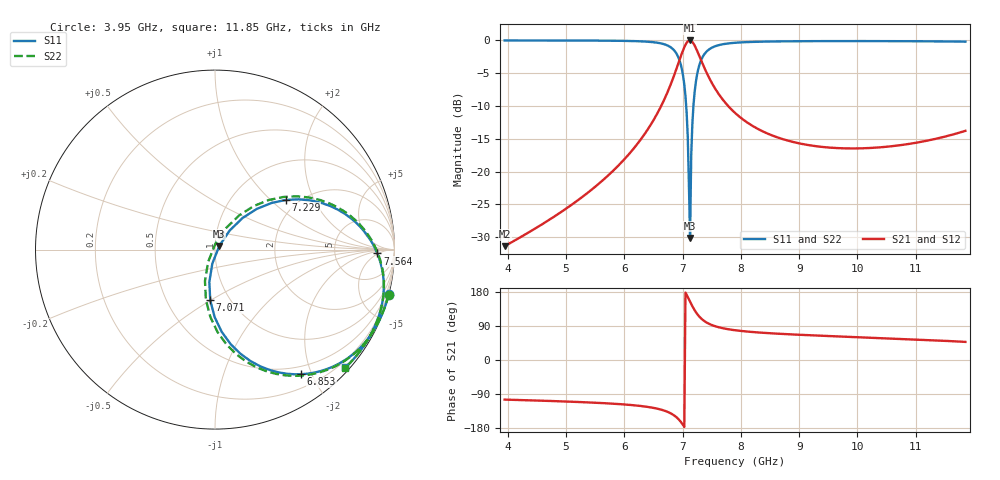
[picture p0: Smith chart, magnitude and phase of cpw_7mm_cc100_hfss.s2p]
! Touchstone file exported from HFSS 2025.2.0
!  File:  D:/lfl/Documents/Ansoft/06082026_005pf.aedt
!  Generated:  05:45:41 PM Jul 18, 2026
!  Design:  cpw_7mm1
!  Project:  06082026_005pf
!  Setup:  Setup1
!  Solution:  Sweep
# GHz S MA R 50.000000
! Terminal data exported
! Port[1] = 1
! Port[2] = 2
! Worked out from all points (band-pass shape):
!   401 points, 3.95 GHz to 11.85 GHz, reference 50 ohm
!   highest |S21| = 0.00 dB at 7.13 GHz (marker M1); lowest = -31.4 dB at 3.95 GHz (marker M2)
!   |S21| within 3 dB of the highest: 6.948 GHz to 7.318 GHz (370.5 MHz wide, 5.19 % of centre)
!   lowest |S11| = -30.1 dB at 7.13 GHz (marker M3), VSWR 1.06, Z = 52.4 + j2.12 ohm
!   |S11| at or under -10 dB: 7.063 GHz to 7.187 GHz (124.4 MHz wide, 1.75 % of centre)
!   |S22| runs from -30.1 to 0.0 dB; largest |S21 - S12| = 3.4e-11
!   S11 on the Smith chart (normalised r, x): 3.95 GHz: 0.01, -7.90; 6.853 GHz: 0.38, -1.84; 7.071 GHz: 0.81, -0.50; 7.229 GHz: 1.73, +1.24; 7.564 GHz: 19, -4; 11.85 GHz: 0.08, -2.60
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3.95  0.9996 -14.4  0.02704 -104.5  0.02704 -104.5  0.9996 -14.5
! Gamma 0 0 0 0
! Port Impedance 50 0 50 0
5.27325  0.998 -21.1  0.06372 -111.2  0.06372 -111.2  0.998 -21.3
6.06325  0.9911 -27.9  0.133 -118.1  0.133 -118.1  0.9911 -28.2
6.5965  0.956 -39.2  0.2934 -129.5  0.2934 -129.5  0.956 -39.8
6.85325  0.8436 -55.4  0.537 -145.9  0.537 -145.9  0.8436 -56.4
6.93225  0.7374 -65.5  0.6755 -156.2  0.6755 -156.2  0.7374 -67.0
6.9915  0.5969 -76.3  0.8023 -167.3  0.8023 -167.3  0.5969 -78.4
7.031  0.4598 -85.3  0.888 -176.8  0.888 -176.8  0.4598 -88.2
7.0705  0.284 -95.3  0.9588 172.2  0.9588 172.2  0.284 -100.3
7.09025  0.1838 -99.9  0.983 166.2  0.983 166.2  0.1838 -107.7
7.12975  0.03129 40.3  0.9995 153.8  0.9995 153.8  0.0313 87.4
7.1495  0.1341 52.5  0.991 147.7  0.991 147.7  0.1341 63.0
7.16925  0.2334 48.9  0.9724 141.8  0.9724 141.8  0.2334 54.8
7.189  0.3252 44.2  0.9457 136.3  0.9457 136.3  0.3252 48.3
7.2285  0.4809 35.1  0.8768 126.3  0.8768 126.3  0.4809 37.6
7.36675  0.7764 13.1  0.6302 103.6  0.6302 103.6  0.7764 14.1
7.56425  0.9047 -1.4  0.4261 88.9  0.4261 88.9  0.9047 -0.8
7.9  0.9598 -11.6  0.2805 78.6  0.2805 78.6  0.9598 -11.3
8.47275  0.981 -19.2  0.1939 70.9  0.1939 70.9  0.981 -19.1
9.22325  0.9875 -24.9  0.1578 65.1  0.1578 65.1  0.9875 -24.9
10.5465  0.9878 -33.0  0.1555 56.9  0.1555 56.9  0.9878 -33.1
11.85  0.9788 -42.1  0.2046 47.8  0.2046 47.8  0.9788 -42.3
